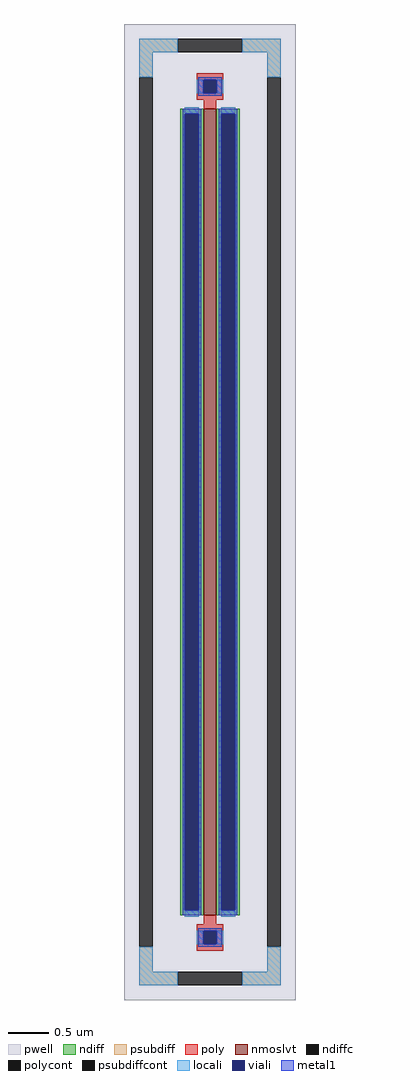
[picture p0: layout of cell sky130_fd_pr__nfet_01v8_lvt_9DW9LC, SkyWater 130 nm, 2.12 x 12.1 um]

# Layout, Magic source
magic
tech sky130A
magscale 1 2
<< pwell >>
rect -212 -1210 212 1210
<< nmoslvt >>
rect -16 -1000 16 1000
<< ndiff >>
rect -74 988 -16 1000
rect -74 -988 -62 988
rect -28 -988 -16 988
rect -74 -1000 -16 -988
rect 16 988 74 1000
rect 16 -988 28 988
rect 62 -988 74 988
rect 16 -1000 74 -988
<< ndiffc >>
rect -62 -988 -28 988
rect 28 -988 62 988
<< psubdiff >>
rect -176 1140 -80 1174
rect 80 1140 176 1174
rect -176 1078 -142 1140
rect 142 1078 176 1140
rect -176 -1140 -142 -1078
rect 142 -1140 176 -1078
rect -176 -1174 -80 -1140
rect 80 -1174 176 -1140
<< psubdiffcont >>
rect -80 1140 80 1174
rect -176 -1078 -142 1078
rect 142 -1078 176 1078
rect -80 -1174 80 -1140
<< poly >>
rect -33 1072 33 1088
rect -33 1038 -17 1072
rect 17 1038 33 1072
rect -33 1022 33 1038
rect -16 1000 16 1022
rect -16 -1022 16 -1000
rect -33 -1038 33 -1022
rect -33 -1072 -17 -1038
rect 17 -1072 33 -1038
rect -33 -1088 33 -1072
<< polycont >>
rect -17 1038 17 1072
rect -17 -1072 17 -1038
<< locali >>
rect -176 1140 -80 1174
rect 80 1140 176 1174
rect -176 1078 -142 1140
rect 142 1078 176 1140
rect -33 1038 -17 1072
rect 17 1038 33 1072
rect -62 988 -28 1004
rect -62 -1004 -28 -988
rect 28 988 62 1004
rect 28 -1004 62 -988
rect -33 -1072 -17 -1038
rect 17 -1072 33 -1038
rect -176 -1140 -142 -1078
rect 142 -1140 176 -1078
rect -176 -1174 -80 -1140
rect 80 -1174 176 -1140
<< viali >>
rect -17 1038 17 1072
rect -62 -988 -28 988
rect 28 -988 62 988
rect -17 -1072 17 -1038
<< metal1 >>
rect -29 1072 29 1078
rect -29 1038 -17 1072
rect 17 1038 29 1072
rect -29 1032 29 1038
rect -68 988 -22 1000
rect -68 -988 -62 988
rect -28 -988 -22 988
rect -68 -1000 -22 -988
rect 22 988 68 1000
rect 22 -988 28 988
rect 62 -988 68 988
rect 22 -1000 68 -988
rect -29 -1038 29 -1032
rect -29 -1072 -17 -1038
rect 17 -1072 29 -1038
rect -29 -1078 29 -1072
<< properties >>
string FIXED_BBOX -159 -1157 159 1157
string gencell sky130_fd_pr__nfet_01v8_lvt
string library sky130
string parameters w 10.0 l 0.155 m 1 nf 1 diffcov 100 polycov 100 guard 1 glc 1 grc 1 gtc 1 gbc 1 tbcov 100 rlcov 100 topc 1 botc 1 poverlap 0 doverlap 1 lmin 0.15 wmin 0.42 compatible {sky130_fd_pr__nfet_01v8 sky130_fd_pr__nfet_01v8_lvt  sky130_fd_bs_flash__special_sonosfet_star  sky130_fd_pr__nfet_g5v0d10v5 sky130_fd_pr__nfet_05v0_nvt  sky130_fd_pr__nfet_03v3_nvt} full_metal 1 viasrc 100 viadrn 100 viagate 100 viagb 0 viagr 0 viagl 0 viagt 0
<< end >>
